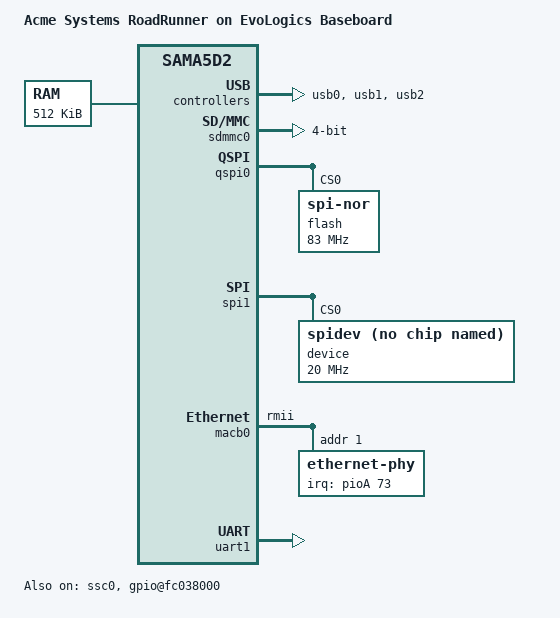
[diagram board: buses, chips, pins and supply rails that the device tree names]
/*
 * acme-roadrunner-bertad2.dts - DTS for the Berta D2 board
 * 
 *  Copyright (C) 2015 Atmel,
 *                2015 Nicolas Ferre <nicolas.ferre@atmel.com>
 *                2017 Sergio Tanzilli <tanzilli@acmesystems.it>
 *
 * This file is dual-licensed: you can use it either under the terms
 * of the GPL or the X11 license, at your option. Note that this dual
 * licensing only applies to this file, and not this project as a
 * whole.
 *
 *  a) This file is free software; you can redistribute it and/or
 *     modify it under the terms of the GNU General Public License as
 *     published by the Free Software Foundation; either version 2 of the
 *     License, or (at your option) any later version.
 *
 *     This file is distributed in the hope that it will be useful,
 *     but WITHOUT ANY WARRANTY; without even the implied warranty of
 *     MERCHANTABILITY or FITNESS FOR A PARTICULAR PURPOSE.  See the
 *     GNU General Public License for more details.
 *
 * Or, alternatively,
 *
 *  b) Permission is hereby granted, free of charge, to any person
 *     obtaining a copy of this software and associated documentation
 *     files (the "Software"), to deal in the Software without
 *     restriction, including without limitation the rights to use,
 *     copy, modify, merge, publish, distribute, sublicense, and/or
 *     sell copies of the Software, and to permit persons to whom the
 *     Software is furnished to do so, subject to the following
 *     conditions:
 *
 *     The above copyright notice and this permission notice shall be
 *     included in all copies or substantial portions of the Software.
 *
 *     THE SOFTWARE IS PROVIDED "AS IS", WITHOUT WARRANTY OF ANY KIND,
 *     EXPRESS OR IMPLIED, INCLUDING BUT NOT LIMITED TO THE WARRANTIES
 *     OF MERCHANTABILITY, FITNESS FOR A PARTICULAR PURPOSE AND
 *     NONINFRINGEMENT. IN NO EVENT SHALL THE AUTHORS OR COPYRIGHT
 *     HOLDERS BE LIABLE FOR ANY CLAIM, DAMAGES OR OTHER LIABILITY,
 *     WHETHER IN AN ACTION OF CONTRACT, TORT OR OTHERWISE, ARISING
 *     FROM, OUT OF OR IN CONNECTION WITH THE SOFTWARE OR THE USE OR
 *     OTHER DEALINGS IN THE SOFTWARE.
 */
/dts-v1/;
#include "sama5d2.dtsi"
#include "sama5d2-pinfunc.h"
#include <dt-bindings/dma/at91.h>
#include <dt-bindings/pinctrl/at91.h>
#include <dt-bindings/interrupt-controller/irq.h>
#include <dt-bindings/mfd/atmel-flexcom.h>
#include <dt-bindings/gpio/gpio.h>

/ {
	model = "Acme Systems RoadRunner on EvoLogics Baseboard";
	compatible = "atmel,sama5d2-bertad2", "atmel,sama5d2", "atmel,sama5";

	aliases {
		ssc0 = &ssc0;
	};

	chosen {
		stdout-path = "serial0:115200n8";
		//bootargs = "mem=256M console=ttyS0,115200 root=/dev/mmcblk0p2 rootfstype=ext4 rw rootwait debug";
        bootargs = "mem=256M console=ttyS0,115200 root=/dev/mtdblock3 rw rootfstype=jffs2";
        //bootargs = "mem=256M console=ttyS0,115200 ubi.mtd=rootfs root=ubi0:sama5d2-roadrunner-evomini2-rootfs rootfstype=ubifs rw";
        //bootargs = "mem=256M console=ttyS0,115200 root=/dev/mtdblock3 rw rootfstype=jffs2 dynamic_debug.verbose=1 dyndbg=\"module spi_nor +flmp; file atmel-quadspi.c +flmp\" debug loglevel=8";
        //bootargs = "mem=256M console=ttyS0,115200 root=/dev/mtdblock3 rw rootfstype=jffs2 dynamic_debug.verbose=1 dyndbg=\"module spi_nor +flmp; file atmel-quadspi.c +flmp\"";

        //bootargs = "mem=256M console=ttyS0,115200 root=/dev/mtdblock3 rw rootfstype=jffs2 dyndbg='format atmel_quadspi +p'";

        //bootargs = "mem=256M console=ttyS0,115200 ubi.mtd=rootfs root=ubi0:sama5d2-roadrunner-evomini2-rootfs rootfstype=ubifs rootwait=1 rw loglevel=8 debug noinitrd ubi.fm_autoconvert=1 ddebug_query=\"format UBIFS DBG rcvry\" ddebug_query=\"format UBIFS DBG mnt\" ddebug_query=\"format UBIFS DBG scan\"";
        //bootargs = "mem=256M console=ttyS0,115200 ubi.mtd=rootfs root=ubi0:sama5d2-roadrunner-evomini2-rootfs rootfstype=ubifs rootwait=1 rw loglevel=8 debug noinitrd ubi.fm_autoconvert=1 ddebug_query=\"format UBIFS DBG rcvry\" ddebug_query=\"format UBIFS DBG mnt\" ddebug_query=\"format UBIFS DBG scan\"";

        //bootargs = "mem=256M console=ttyS0,115200 ubi.mtd=rootfs root=ubi0:sama5d2-roadrunner-evomini2-rootfs rootfstype=ubifs rootwait=1 rw dynamic_debug.verbose=1 dyndbg=\"module ubi +p; module ubifs +p\"";
        //bootargs = "mem=256M console=ttyS0,115200 ubi.mtd=rootfs ubi.block=0,0 root=/dev/ubiblock0_0 rootfstype=ubifs rootwait=1 rw dynamic_debug.verbose=1 dyndbg=\"module ubi +p; module ubifs +p\"";
        //bootargs = "mem=256M console=ttyS0,115200 root=31:03 rw rootfstype=jffs2 rootwait debug";
	};

	memory {
		reg = <0x20000000 0x80000>;
	};

	clocks {
		slow_xtal {
			clock-frequency = <32768>;
		};

		main_xtal {
			clock-frequency = <12000000>;
		};
	};

	ahb {
		usb0: gadget@00300000 {
			pinctrl-names = "default";
			pinctrl-0 = <&pinctrl_usba_vbus>;
			status = "okay";
		};

		usb1: ohci@00400000 {
			num-ports = <3>;
			pinctrl-names = "default";
			pinctrl-0 = <&pinctrl_usb_default>;
			status = "okay";
		};

		usb2: ehci@00500000 {
			status = "okay";
		};

		sdmmc0: sdio-host@a0000000 {
			bus-width = <4>;
			pinctrl-names = "default";
			pinctrl-0 = <&pinctrl_sdmmc0_default>;
            broken-cd;
            no-1-8-v;
            disable-wp;
			status = "okay";
		};

		apb {
			qspi0: spi@f0020000 {
                pinctrl-names = "default";
                pinctrl-0 = <&pinctrl_qspi0_default>;
                status = "okay";

                flash@0 {
                    #address-cells = <1>;
                    #size-cells = <1>;
                    //compatible = "micron,n25q128a13", "jedec,spi-nor";
                    compatible = "jedec,spi-nor";
                    reg = <0>;
                    spi-max-frequency = <83000000>;
                    m25p,fast-read;

                    at91bootstrap@00000000 {
                        label = "at91bootstrap";
                        reg = <0x00000000 0x00010000>;
                    };
            
                    //bootloaderenv@00010000 {
                    //    label = "bootloader env";
                    //    reg = <0x00010000 0x00010000>;
                    //};
                
                    //bootloader@00020000 {
                    //    label = "bootloader";
                    //    reg = <0x00020000 0x00050000>;
                    //};
                
                    dtb@00010000 {
                        label = "dtb";
                        reg = <0x00010000 0x00010000>;
                    };
                
                    kernel@00040000 {
                        label = "kernel";
                        reg = <0x00020000 0x00400000>;
                    };
                    
                    rootfs@00420000 {
                        label = "rootfs";
                        //reg = <0x00420000 0x00000000>;
                        reg = <0x00420000 0x007be0000>;
                    };

                    rootfs@08000000 {
                        label = "rootfs";
                        //reg = <0x00420000 0x00000000>;
                        reg = <0x08000000 0x00000000>;
                    };
                };
            };

			spi1: spi@fc000000 {
				pinctrl-names = "default";
				pinctrl-0 = <&pinctrl_spi1_default>;
				status = "okay";
                device@0 {
                    compatible = "spidev";
                    spi-max-frequency = <20000000>;     // 50 MHz
                    reg = <0>;
                };

			};

			ssc0: ssc@f8004000 {
				compatible = "atmel,at91sam9g45-ssc";
				reg = <0xf8004000 0x4000>;
				interrupts = <43 IRQ_TYPE_LEVEL_HIGH 4>;
                dmas = <&dma0
                    (AT91_XDMAC_DT_MEM_IF(0) | AT91_XDMAC_DT_PER_IF(1) |
                    AT91_XDMAC_DT_PERID(21))>,
                       <&dma0
                    (AT91_XDMAC_DT_MEM_IF(0) | AT91_XDMAC_DT_PER_IF(1) |
                    AT91_XDMAC_DT_PERID(22))>;
				dma-names = "tx", "rx";
				pinctrl-names = "default";
				pinctrl-0 = <&pinctrl_ssc0_tx &pinctrl_ssc0_rx>;
				clocks = <&ssc0_clk>;
				clock-names = "pclk";
				/* status = "disabled"; */
				status = "okay";
			};

			macb0: ethernet@f8008000 {
				pinctrl-names = "default";
				pinctrl-0 = <&pinctrl_macb0_default>;
				phy-mode = "rmii";
				status = "okay";
                mac-address = [02 00 de ad 00 01];

				ethernet-phy@1 {
					reg = <0x1>;
					interrupt-parent = <&pioA>;
					interrupts = <73 IRQ_TYPE_LEVEL_LOW>;
				};
			};

			/* Debug port */

			uart1: serial@f8020000 {
				pinctrl-names = "default";
				pinctrl-0 = <&pinctrl_uart1_default>;
				status = "okay";
			};

			i2c0: i2c@f8028000 {
				dmas = <0>, <0>;
				pinctrl-names = "default";
				pinctrl-0 = <&pinctrl_i2c0_default>;
				i2c-sda-hold-time-ns = <350>;
				status = "disabled";
			};

			flx0: flexcom@f8034000 {
				atmel,flexcom-mode = <ATMEL_FLEXCOM_MODE_USART>;
				status = "disabled"; /* conflict with ISC_D2 & ISC_D3 data pins */

				uart5: serial@200 {
					compatible = "atmel,at91sam9260-usart";
					reg = <0x200 0x200>;
					interrupts = <19 IRQ_TYPE_LEVEL_HIGH 7>;
					clocks = <&flx0_clk>;
					clock-names = "usart";
					pinctrl-names = "default";
					pinctrl-0 = <&pinctrl_flx0_default>;
					atmel,fifo-size = <32>;
					status = "disabled";
				};
			};

			shdwc@f8048010 {
				atmel,shdwc-debouncer = <976>;

				input@0 {
					reg = <0>;
					atmel,wakeup-type = "low";
				};
			};

			watchdog@f8048040 {
				status = "okay";
			};
			
			gpio@fc038000 {
				compatible = "atmel,sama5d2-gpio";
				pinctrl-names = "default";
				pinctrl-0 = <&pinctrl_gpio>;
				status = "okay";
			};

			uart3: serial@fc008000 {
				pinctrl-names = "default";
				pinctrl-0 = <&pinctrl_uart3_default>;
				status = "disabled";
			};

			flx4: flexcom@fc018000 {
				atmel,flexcom-mode = <ATMEL_FLEXCOM_MODE_TWI>;
				status = "disabled";

				i2c2: i2c@600 {
					compatible = "atmel,sama5d2-i2c";
					reg = <0x600 0x200>;
					interrupts = <23 IRQ_TYPE_LEVEL_HIGH 7>;
					dmas = <0>, <0>;
					dma-names = "tx", "rx";
					#address-cells = <1>;
					#size-cells = <0>;
					clocks = <&flx4_clk>;
					pinctrl-names = "default";
					pinctrl-0 = <&pinctrl_flx4_default>;
					atmel,fifo-size = <16>;
					status = "disabled";
				};
			};

			i2c1: i2c@fc028000 {
				dmas = <0>, <0>;
				pinctrl-names = "default";
				pinctrl-0 = <&pinctrl_i2c1_default>;
				status = "disabled";
			};

			/*
			adc: adc@fc030000 {
				vddana-supply = <&vdd_3v3_lp_reg>;
				vref-supply = <&vdd_3v3_lp_reg>;
				pinctrl-names = "default";
				pinctrl-0 = <&pinctrl_adc_default>;
				status = "disabled";
			};
			*/
			
			pinctrl@fc038000 {
				/* Set as GPIO the pins that are not by default */

				pinctrl_gpio: gpio_default {
					pinmux = <PIN_PD4__GPIO>,
						     <PIN_PD5__GPIO>,
						     <PIN_PD21__GPIO>,
						     <PIN_PD22__GPIO>,
						     <PIN_PD14__GPIO>,
						     <PIN_PD15__GPIO>,
						     <PIN_PD16__GPIO>,
						     <PIN_PD17__GPIO>;
						     
					bias-pull-up;
				};

				/*
				 * There is no real pinmux for ADC, if the pin
				 * is not requested by another peripheral then
				 * the muxing is done when channel is enabled.
				 * Requesting pins for ADC is GPIO is
				 * encouraged to prevent conflicts and to
				 * disable bias in order to be in the same
				 * state when the pin is not muxed to the adc.
				 */
				pinctrl_adc_default: adc_default {
					pinmux = <PIN_PD23__GPIO>;
					bias-disable;
				};

				pinctrl_charger_chglev: charger_chglev {
					pinmux = <PIN_PA12__GPIO>;
					bias-disable;
				};

				pinctrl_charger_irq: charger_irq {
					pinmux = <PIN_PB13__GPIO>;
					bias-disable;
				};

				pinctrl_charger_lbo: charger_lbo {
					pinmux = <PIN_PC8__GPIO>;
					bias-pull-up;
				};

				pinctrl_flx0_default: flx0_default {
					pinmux = <PIN_PB28__FLEXCOM0_IO0>,
						 <PIN_PB29__FLEXCOM0_IO1>;
					bias-disable;
				};

				pinctrl_flx4_default: flx4_default {
					pinmux = <PIN_PD12__FLEXCOM4_IO0>,
						 <PIN_PD13__FLEXCOM4_IO1>;
					bias-disable;
				};

				pinctrl_i2c0_default: i2c0_default {
					pinmux = <PIN_PD21__TWD0>,
						 <PIN_PD22__TWCK0>;
					bias-disable;
				};

				pinctrl_i2c1_default: i2c1_default {
					pinmux = <PIN_PD4__TWD1>,
						 <PIN_PD5__TWCK1>;
					bias-disable;
				};

				pinctrl_macb0_default: macb0_default {
					pinmux = <PIN_PD9__GTXCK>,
                         <PIN_PD10__GTXEN>,
						 <PIN_PD11__GRXDV>,
						 <PIN_PD12__GRXER>,
						 <PIN_PD13__GRX0>,
						 <PIN_PD14__GRX1>,
						 <PIN_PD15__GTX0>,
						 <PIN_PD16__GTX1>,
						 <PIN_PD17__GMDC>,
						 <PIN_PD18__GMDIO>;
					bias-disable;
				};

                /*
				pinctrl_macb0_phy_irq: macb0_phy_irq {
					pinmux = <PIN_PC9__GPIO>;
					bias-disable;
				};
                */

				pinctrl_pdmic_default: pdmic_default {
					pinmux = <PIN_PB26__PDMIC_DAT>,
						<PIN_PB27__PDMIC_CLK>;
					bias-disable;
				};

				pinctrl_sdmmc0_default: sdmmc0_default {
					cmd_data {
						pinmux = <PIN_PA1__SDMMC0_CMD>,
							 <PIN_PA2__SDMMC0_DAT0>,
							 <PIN_PA3__SDMMC0_DAT1>,
							 <PIN_PA4__SDMMC0_DAT2>,
							 <PIN_PA5__SDMMC0_DAT3>;
						bias-pull-up;
					};

					conf-ck {
						pinmux = <PIN_PA0__SDMMC0_CK>;
                        /* drive-strength = <2>; */
                        bias-disable;
					};
					
					/* The cd line is used on microSD socket */
					conf-cd {
						pinmux = <PIN_PA13__SDMMC0_CD>;
						bias-pull-down;
					};
				};

                pinctrl_qspi0_default: qspi0_default {
                    sck_cs {
                        pinmux = <PIN_PA22__QSPI0_SCK>,
                             <PIN_PA23__QSPI0_CS>;
                        bias-disable;
                    };

                    data {
                        pinmux = <PIN_PA24__QSPI0_IO0>,
                             <PIN_PA25__QSPI0_IO1>,
                             <PIN_PA26__QSPI0_IO2>,
                             <PIN_PA27__QSPI0_IO3>;
                        bias-pull-up;
                    };
                };


				pinctrl_spi0_default: spi0_default {
					pinmux = <PIN_PA14__SPI0_SPCK>,
						 <PIN_PA15__SPI0_MOSI>,
						 <PIN_PA16__SPI0_MISO>,
						 <PIN_PA17__SPI0_NPCS0>;
					bias-disable;
				};

				pinctrl_spi1_default: spi1_default {
					pinmux = <PIN_PC1__SPI1_SPCK>,
						 <PIN_PC2__SPI1_MOSI>,
						 <PIN_PC3__SPI1_MISO>,
						 <PIN_PC4__SPI1_NPCS0>;
					bias-disable;
				};

                ssc0 {
                    pinctrl_ssc0_tx: ssc0_tx {
                        pinmux = <PIN_PC12__TK0>,   /* PC12 periph E TK0 */
                                 <PIN_PC13__TF0>,   /* PC13 periph E TF0 */
                                 <PIN_PC14__TDO>;   /* PC14 periph E TD0 WTF!!!! */
                        bias-pull-up;
                        drive-strength = <2>;
                    };

                    pinctrl_ssc0_rx: ssc0_rx {
                        pinmux = <PIN_PC16__RK0>,   /* PC16 periph E RK0 */
                                 <PIN_PC17__RF0>,   /* PC17 periph E RF0 */
                                 <PIN_PC15__RD0>;	/* PC15 periph E RD0 */
                        bias-pull-up;
                    };
                };

				

				pinctrl_uart1_default: uart1_default {
					pinmux = <PIN_PD2__URXD1>,
						 <PIN_PD3__UTXD1>;
					bias-disable;
				};

				pinctrl_uart3_default: uart3_default {
					pinmux = <PIN_PB11__URXD3>,
						 <PIN_PB12__UTXD3>;
					bias-disable;
				};

				pinctrl_usb_default: usb_default {
					pinmux = <PIN_PB10__GPIO>;
					bias-disable;
				};

				pinctrl_usba_vbus: usba_vbus {
					pinmux = <PIN_PA31__GPIO>;
					bias-disable;
				};
				
			};
		};
	};
	
};
